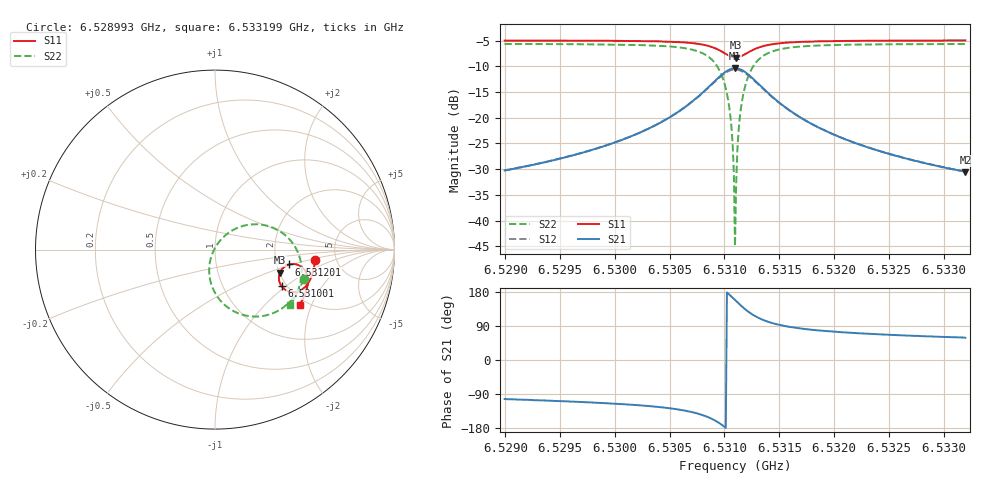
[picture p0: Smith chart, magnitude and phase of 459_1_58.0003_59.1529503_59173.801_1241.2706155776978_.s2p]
#  HZ  S  RI  R  50.00
! Rohde & Schwarz Vector Network Analyzer
! Rohde-Schwarz,ZNB20-2Port,1311601062101988,3.16
! Created: UTC 3/21/2024, 1:10:52 AM
! freq[Hz]  re:S11  im:S11  re:S21  im:S21  re:S12  im:S12  re:S22  im:S22
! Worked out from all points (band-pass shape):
!   401 points, 6.528993 GHz to 6.533199 GHz, reference 50 ohm
!   highest |S21| = -10.39 dB at 6.531096 GHz (marker M1); lowest = -30.6 dB at 6.533199 GHz (marker M2)
!   |S21| within 3 dB of the highest: 6.530887 GHz to 6.531308 GHz (420.3 kHz wide, 0.00644 % of centre)
!   lowest |S11| = -8.3 dB at 6.531106 GHz (marker M3), VSWR 2.25, Z = 101 - j30.2 ohm
!   |S11| at or under -10 dB: nowhere
!   |S22| runs from -45.0 to -5.7 dB; largest |S21 - S12| = 0.012
!   S11 on the Smith chart (normalised r, x): 6.528993 GHz: 3.44, -0.60; 6.531001 GHz: 1.88, -0.93; 6.531201 GHz: 2.34, -0.47; 6.533199 GHz: 1.82, -1.65
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6.5289928e9  0.5578 -0.0598  -0.00686 -0.0299  -0.0076 -0.0297  0.4942 -0.1632
6.5296974e9  0.5474 -0.118  -0.0163 -0.0425  -0.0172 -0.0421  0.4641 -0.2284
6.5304019e9  0.519 -0.1872  -0.0494 -0.0727  -0.0513 -0.0715  0.3839 -0.32
6.5308225e9  0.4491 -0.2363  -0.1555 -0.0985  -0.1577 -0.0923  0.1801 -0.3692
6.5309277e9  0.4052 -0.231  -0.2237 -0.0728  -0.2231 -0.0636  0.0634 -0.3161
6.5310013e9  0.3709 -0.2041  -0.2744 -0.0155  -0.269 -0.00576  -0.0142 -0.2114
6.5310329e9  0.3604 -0.1844  -0.2881 0.0227  -0.2803 0.031  -0.0307 -0.146
6.5310539e9  0.3568 -0.1689  -0.2914 0.0511  -0.2825 0.0584  -0.0318 -0.0978
6.5310644e9  0.3561 -0.1607  -0.2911 0.0662  -0.2816 0.0725  -0.0289 -0.0732
6.5310749e9  0.3562 -0.1524  -0.2893 0.0813  -0.2792 0.0867  -0.0234 -0.0486
6.5310854e9  0.3573 -0.1441  -0.286 0.0962  -0.2757 0.1008  -0.0158 -0.0245
6.531096e9  0.3593 -0.1359  -0.2812 0.1111  -0.2708 0.1144  -0.00549 -0.00124
6.5311065e9  0.362 -0.128  -0.2749 0.1252  -0.2644 0.1275  0.007 0.0213
6.531117e9  0.3657 -0.1203  -0.2673 0.1384  -0.257 0.1401  0.0216 0.0421
6.5311275e9  0.3702 -0.1132  -0.2586 0.151  -0.2485 0.1517  0.038 0.061
6.5311485e9  0.381 -0.1009  -0.2379 0.1726  -0.2286 0.1717  0.0751 0.0934
6.5312011e9  0.4137 -0.0829  -0.1784 0.2045  -0.1718 0.2015  0.1787 0.1372
6.5312747e9  0.456 -0.0834  -0.1038 0.2069  -0.1005 0.2039  0.3047 0.1285
6.5313799e9  0.4928 -0.1056  -0.0397 0.1764  -0.0381 0.1746  0.4097 0.0628
6.5318005e9  0.5178 -0.1853  0.0156 0.085  0.0166 0.0847  0.483 -0.1282
6.532505e9  0.4982 -0.2568  0.0177 0.0407  0.0183 0.0405  0.4552 -0.2451
6.5331991e9  0.4711 -0.3083  0.0153 0.0253  0.0159 0.0252  0.4205 -0.3065
